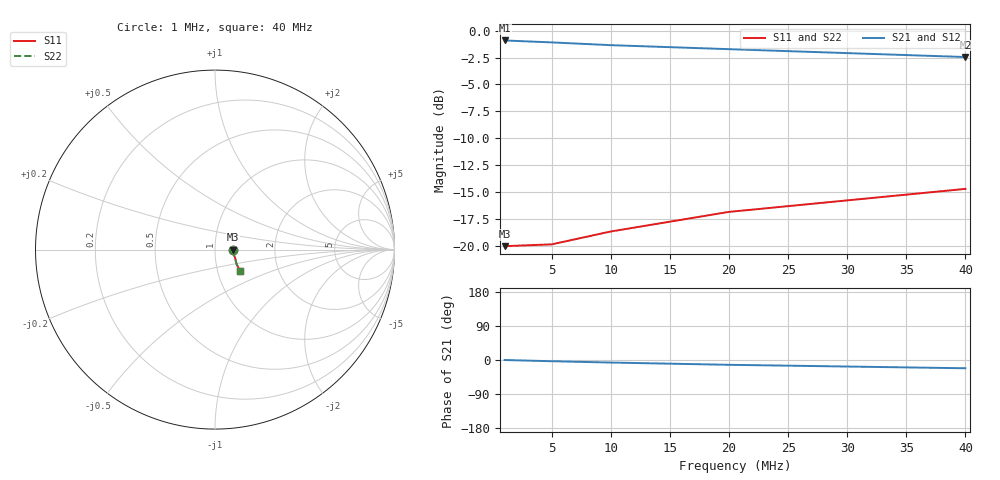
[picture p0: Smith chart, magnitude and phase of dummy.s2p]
! Dummy 2-port S-parameters (differential) for smoke testing
# MHz S RI R 100
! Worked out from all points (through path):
!   5 points, 1 MHz to 40 MHz, reference 100 ohm
!   highest |S21| = -0.92 dB at 1 MHz (marker M1); lowest = -2.5 dB at 40 MHz (marker M2)
!   lowest |S11| = -20.0 dB at 1 MHz (marker M3), VSWR 1.22, Z = 122 + j0 ohm
!   |S11| at or under -10 dB: start of sweep to end of sweep
!   |S22| runs from -20.0 to -14.7 dB; largest |S21 - S12| = 0
1  0.1 0  0.9 0  0.9 0  0.1 0
5  0.1 -0.02  0.88 -0.05  0.88 -0.05  0.1 -0.02
10  0.11 -0.04  0.85 -0.1  0.85 -0.1  0.11 -0.04
20  0.12 -0.08  0.8 -0.18  0.8 -0.18  0.12 -0.08
40  0.14 -0.12  0.7 -0.28  0.7 -0.28  0.14 -0.12
